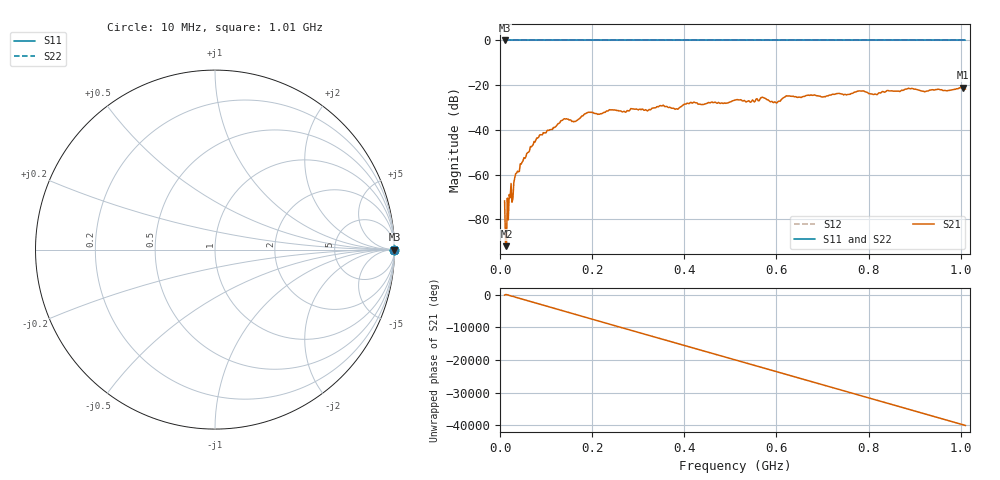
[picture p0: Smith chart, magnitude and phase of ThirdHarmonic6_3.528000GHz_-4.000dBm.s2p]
! 8/17/2025 11:35:15 AM
! C:\ANRITSUVNA\TEMP\TEMP.S2P
! CHANNEL.1
! TR.MEASUREMENT
! RAW.DATA
! RF.CORRECTION.OFF
! AVERAGING.OFF
! IF.BANDWIDTH: 5KHZ
! SWEEPTYPE:  FREQ.SWEEP(Linear)
! Reference Plane Port Info
! PORT:  PORT1  PORT2
! DISTANCE:  0  m  0  m
! TIME:  0  s  0  s
! PHASE.OFFSET:  0  deg.  0  deg.
! LOSS:  0  dB  0  dB
! REF.LOSS:  0  dB  0  dB
! REF.FREQ:  0  Hz  0  Hz
! Power Info
! POWER:  -20  dBm  -20  dBm
! EFF.POWER:  -20  dBm  -20  dBm
! SOURCE.ATTEN:  0  dB  0  dB
! TEST.ATTEN:  0  dB  0  dB
# GHZ S RI R 50.0
! FREQ.GHZ  S11RE  S11IM  S21RE  S21IM  S12RE  S12IM  S22RE  S22IM
!; PortSelection: Port_12
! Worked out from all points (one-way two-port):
!   501 points, 10 MHz to 1.01 GHz, reference 50 ohm
!   highest |S21| = -21.07 dB at 1.004 GHz (marker M1); lowest = -92.0 dB at 14 MHz (marker M2)
!   lowest |S11| = 0.0 dB at 10 MHz (marker M3)
!   |S11| at or under -10 dB: nowhere
!   |S22| runs from 0.0 to 0.0 dB; largest |S21 - S12| = 1.1
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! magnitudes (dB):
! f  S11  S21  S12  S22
! 10 MHz  0.0  -71.8  0.0  0.0
! 14 MHz  0.0  -92.0  0.0  0.0
! 16 MHz  0.0  -70.5  0.0  0.0
! 20 MHz  0.0  -68.9  0.0  0.0
! 22 MHz  0.0  -70.3  0.0  0.0
! 30 MHz  0.0  -63.5  0.0  0.0
! 34 MHz  0.0  -59.6  0.0  0.0
! 78 MHz  0.0  -44.4  0.0  0.0
! 136 MHz  0.0  -35.6  0.0  0.0
! 162 MHz  0.0  -36.2  0.0  0.0
! 178 MHz  0.0  -33.8  0.0  0.0
! 344 MHz  0.0  -29.6  0.0  0.0
! 384 MHz  0.0  -30.6  0.0  0.0
! 410 MHz  0.0  -28.3  0.0  0.0
! 510 MHz  0.0  -26.7  0.0  0.0
! 570 MHz  0.0  -25.4  0.0  0.0
! 598 MHz  0.0  -27.7  0.0  0.0
! 624 MHz  0.0  -24.8  0.0  0.0
! 678 MHz  0.0  -24.6  0.0  0.0
! 844 MHz  0.0  -22.5  0.0  0.0
! 1.004 GHz  0.0  -21.1  0.0  0.0
! 1.01 GHz  0.0  -21.8  0.0  0.0
